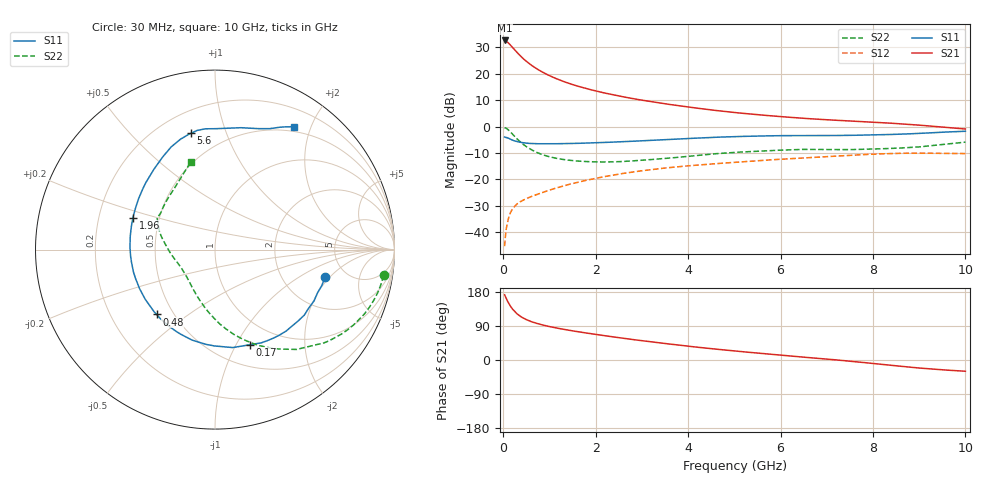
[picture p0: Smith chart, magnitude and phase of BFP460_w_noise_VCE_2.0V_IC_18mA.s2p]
! (c) 2016  Infineon Technologies AG, Munich
! Infineon Technologies  Discrete & RF Semiconductors
! BFP460
! VCE =  2.0 V,  IC =  18 mA
! Common Emitter S-Parameters:  Jan 2016
# GHz  S  MA  R  50
!  f  S11  S21  S12  S22
! GHz  MAG  ANG  MAG  ANG  MAG  ANG  MAG  ANG
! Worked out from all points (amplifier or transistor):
!   229 points, 30 MHz to 10 GHz, reference 50 ohm
!   highest |S21| = 32.6 dB at 30 MHz (marker M1)
!   |S21| within 3 dB of that: start of sweep to 220.2 MHz
!   unconditionally stable (mu >= 1): 1.873 GHz to 7.931 GHz
!   at 280 MHz: K = 0.40, MSG = 29.0 dB, |S12| = -29.7 dB
!   at 1.78 GHz: K = 0.99, MSG = 17.5 dB, |S12| = -20.4 dB
!   at 10 GHz: K = 0.98, MSG = 4.7 dB, |S12| = -10.3 dB
!   lowest NFmin = 1.13 dB at 900 MHz
!   S11 on the Smith chart (normalised r, x): 30 MHz: 3.48, -1.77; 170 MHz: 0.73, -1.14; 480 MHz: 0.40, -0.38; 1.96 GHz: 0.35, +0.17; 5.6 GHz: 0.33, +0.76; 10 GHz: 0.43, +1.74
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0.03  0.6325 -14.0  42.72 172.0  0.0054 83.9  0.9507 -8.7
0.05  0.62 -22.8  41.83 165.8  0.0088 80.4  0.9383 -14.7
0.09  0.6102 -40.8  39.86 156.0  0.0151 73.5  0.8921 -26.0
0.14  0.5851 -60.2  36.24 145.1  0.0215 66.0  0.8155 -38.4
0.17  0.5644 -69.9  33.81 139.9  0.0245 62.7  0.7641 -44.4
0.2  0.5546 -79.8  31.69 134.5  0.0274 59.9  0.7188 -50.7
0.24  0.5367 -90.4  28.9 129.0  0.0303 57.0  0.6592 -57.2
0.3  0.5202 -104.2  25.28 121.7  0.0341 54.0  0.5823 -66.1
0.4  0.4974 -121.5  20.57 112.9  0.0389 51.5  0.4847 -77.4
0.48  0.4864 -132.0  17.79 107.8  0.0421 50.9  0.4281 -84.4
0.6  0.4773 -144.5  14.68 101.5  0.0468 50.8  0.3666 -93.3
0.7  0.4733 -152.4  12.78 97.4  0.0506 51.2  0.3305 -99.5
0.9  0.4712 -164.7  10.15 90.9  0.0584 52.3  0.2829 -109.7
1.2  0.4724 -178.1  7.729 83.3  0.0705 53.2  0.2448 -121.5
1.7  0.4823 165.7  5.527 73.1  0.0916 52.9  0.2189 -136.0
1.96  0.49 158.7  4.819 68.3  0.1027 52.0  0.214 -142.3
3.4  0.556 129.0  2.78 45.1  0.1596 42.3  0.2442 -173.3
5.1  0.6471 106.4  1.806 22.7  0.2123 30.2  0.3268 161.5
5.6  0.6621 101.7  1.646 17.2  0.228 26.7  0.3424 157.1
6.8  0.6737 91.6  1.376 4.5  0.262 18.2  0.3668 150.1
8.4  0.7067 72.8  1.154 -14.1  0.3081 4.2  0.3843 134.3
10  0.8126 57.4  0.896 -29.7  0.3069 -8.3  0.5058 105.4
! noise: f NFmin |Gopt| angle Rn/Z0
0.45  1.21  0.04  164  0.13
0.9  1.13  0.18  150  0.14
1.9  1.33  0.16  -152  0.12
3.5  1.29  0.41  -126  0.14
